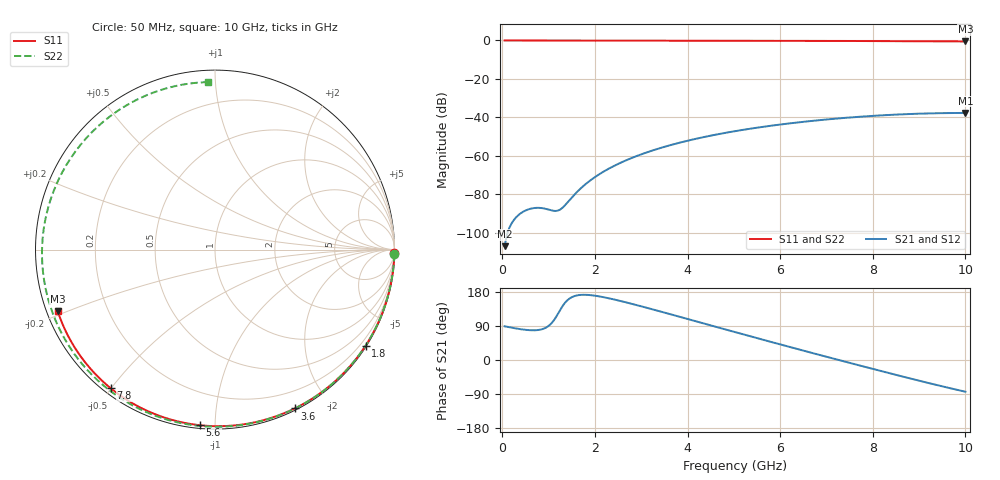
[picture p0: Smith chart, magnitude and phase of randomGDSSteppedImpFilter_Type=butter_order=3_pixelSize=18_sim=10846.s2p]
! freq	dB(S11)	phase(S11)	dB(S12)	phase(S12)
!  dB(S21)	phase(S21)	dB(S22)	phase(S22)
!S-par simulation data
#  GHz  S  DB  R 50
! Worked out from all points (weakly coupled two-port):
!   200 points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, 50 MHz to 10 GHz, reference 50 ohm
!   highest |S21| = -37.73 dB at 10 GHz (marker M1); lowest = -107.1 dB at 50 MHz (marker M2)
!   lowest |S11| = -0.5 dB at 10 GHz (marker M3), VSWR 32.95, Z = 1.57 - j9.43 ohm
!   |S11| at or under -10 dB: nowhere
!   |S22| runs from -0.6 to 0.0 dB; largest |S21 - S12| = 0
!   S11 on the Smith chart (normalised r, x): 50 MHz: open; 1.8 GHz: 0.03, -3.42; 3.6 GHz: 0.02, -1.62; 5.6 GHz: 0.02, -0.92; 7.8 GHz: 0.02, -0.50; 10 GHz: 0.03, -0.19
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0.05  -0.00 -0.9  -107.06 88.9  -107.06 88.9  -0.00 -1.5
0.75  -0.02 -13.7  -87.11 78.8  -87.11 78.8  -0.03 -22.7
1.55  -0.04 -28.1  -80.44 168.3  -80.44 168.3  -0.06 -46.3
1.75  -0.04 -31.7  -75.76 172.1  -75.76 172.1  -0.07 -52.0
1.8  -0.04 -32.6  -74.74 172.1  -74.74 172.1  -0.07 -53.4
2.1  -0.05 -37.8  -69.53 167.7  -69.53 167.7  -0.08 -61.9
2.45  -0.06 -43.9  -64.86 158.7  -64.86 158.7  -0.09 -71.5
2.9  -0.07 -51.6  -60.17 144.9  -60.17 144.9  -0.10 -83.6
3.4  -0.08 -60.0  -56.08 128.5  -56.08 128.5  -0.12 -96.5
3.6  -0.08 -63.3  -54.68 121.8  -54.68 121.8  -0.13 -101.6
4.3  -0.11 -74.7  -50.55 98.2  -50.55 98.2  -0.16 -118.9
5.05  -0.13 -86.5  -47.10 72.8  -47.10 72.8  -0.20 -136.9
5.6  -0.16 -94.9  -45.05 54.4  -45.05 54.4  -0.23 -149.8
6.15  -0.18 -103.1  -43.31 36.2  -43.31 36.2  -0.27 -162.8
6.7  -0.22 -111.1  -41.84 18.3  -41.84 18.3  -0.31 -175.9
7.25  -0.25 -119.1  -40.59 0.5  -40.59 0.5  -0.35 170.7
7.8  -0.29 -126.9  -39.57 -17.1  -39.57 -17.1  -0.40 156.8
8.35  -0.34 -134.8  -38.77 -34.5  -38.77 -34.5  -0.45 142.2
8.8  -0.39 -141.2  -38.28 -48.5  -38.28 -48.5  -0.49 129.5
9.25  -0.44 -147.6  -37.95 -62.1  -37.95 -62.1  -0.53 116.2
9.65  -0.48 -153.5  -37.78 -73.9  -37.78 -73.9  -0.56 103.8
10  -0.53 -158.6  -37.73 -83.7  -37.73 -83.7  -0.59 92.4
